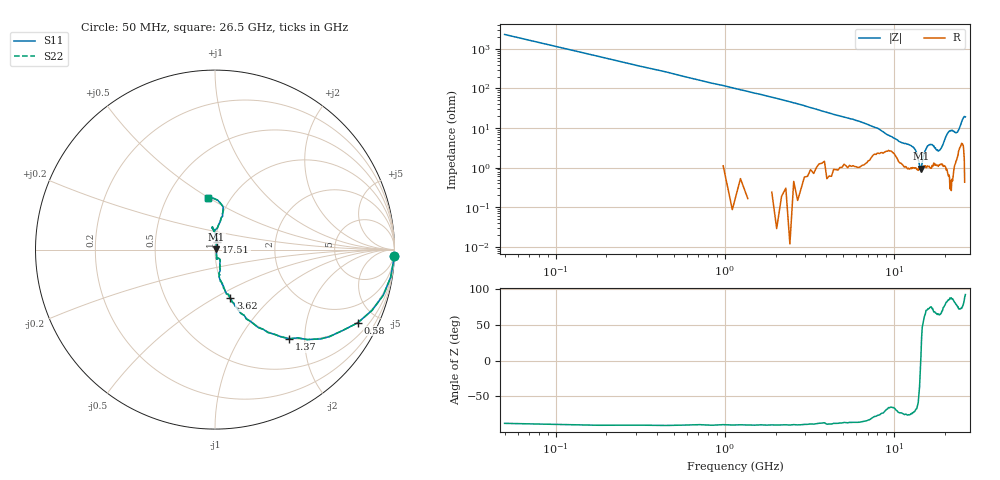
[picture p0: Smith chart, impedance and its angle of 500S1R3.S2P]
!  American Technical Ceramics  Date:  3/6/98
!  One Norden Lane
!  Huntington Station,  NY.  11746-2102
!  Tel:  (516) 547-5700  Fax:  (516) 547-5748
!  Part Number  500S1R3
!  Description: Broadband Microwave capacitor
!  Application:
# GHZ S DB R 50
! Freq  |S11|  S11 Ph  |S21|  S21 Ph  |S12|  S12 Ph  |S22|  S22 Ph
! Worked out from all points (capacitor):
!   201 points, 50 MHz to 26.5 GHz, reference 50 ohm
!   read as one part in series: C = 1.37 pF near 180 MHz
!   lowest |Z| = 943 mohm at 14.47 GHz (marker M1)
!   series resonance near 14.43 GHz, so ESL is about 89 pH
!   S11 on the Smith chart (normalised r, x): 50 MHz: 0, -53; 580 MHz: 0.97, -3.93; 1.37 GHz: 0.99, -1.69; 3.62 GHz: 1.01, -0.59; 17.51 GHz: 1.02, +0.08; 26.5 GHz: 0.79, +0.49
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0.05  0.00 -2.2  -27.28 85.5  -27.28 85.5  0.00 -2.2
0.18  -0.08 -9.0  -16.27 81.3  -16.27 81.3  -0.08 -9.0
0.58  -0.97 -27.1  -6.98 63.0  -6.98 63.0  -0.97 -27.1
1.37  -3.78 -50.2  -2.35 39.7  -2.35 39.7  -3.78 -50.2
2.43  -7.45 -65.6  -0.88 24.5  -0.88 24.5  -7.45 -65.6
3.62  -11.02 -72.4  -0.46 15.1  -0.46 15.1  -11.02 -72.4
4.55  -12.94 -76.6  -0.29 10.8  -0.29 10.8  -12.94 -76.6
8.91  -22.40 -68.4  -0.25 3.5  -0.25 3.5  -22.40 -68.4
10.76  -26.61 -75.6  -0.16 2.3  -0.16 2.3  -26.61 -75.6
13.28  -26.94 -78.3  -0.10 0.7  -0.10 0.7  -26.94 -78.3
13.8  -30.82 -73.2  -0.09 0.4  -0.09 0.4  -30.82 -73.2
14.47  -41.47 12.3  -0.09 -0.0  -0.09 -0.0  -41.47 12.3
14.86  -32.58 67.4  -0.11 -0.3  -0.11 -0.3  -32.58 67.4
15.79  -25.20 81.6  -0.14 -0.6  -0.14 -0.6  -25.20 81.6
16.71  -24.42 82.1  -0.12 -0.7  -0.12 -0.7  -24.42 82.1
17.51  -27.50 77.1  -0.13 -0.9  -0.13 -0.9  -27.50 77.1
17.77  -28.74 73.7  -0.12 -1.0  -0.12 -1.0  -28.74 73.7
18.83  -32.16 68.4  -0.14 -1.6  -0.14 -1.6  -32.16 68.4
20.68  -20.85 90.5  -0.23 -2.8  -0.23 -2.8  -20.85 90.5
22.14  -17.96 96.3  -0.34 -2.8  -0.34 -2.8  -17.96 96.3
23.86  -19.22 88.6  -0.42 -2.4  -0.42 -2.4  -19.22 88.6
26.5  -10.76 98.0  -0.84 -5.0  -0.84 -5.0  -10.76 98.0
